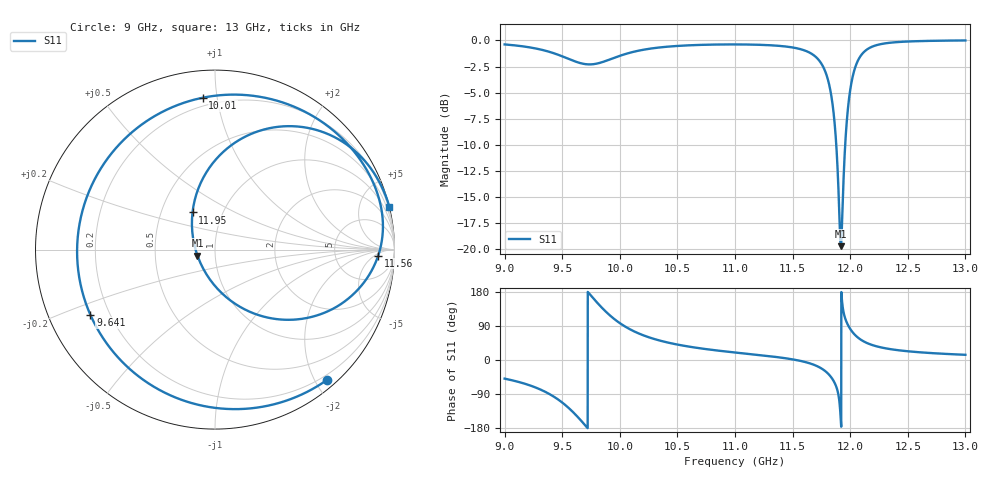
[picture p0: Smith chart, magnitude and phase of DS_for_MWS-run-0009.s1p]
! TOUCHSTONE file generated by CST DESIGN STUDIO
! Date and time: Tue Feb  4 16:26:46 2025
! Project name: C:\Work\MatlabApps\UnitCellOptimizationMatlab\CST\unitcell.cst
! Tree item: Tasks\Sweep1\SPara1\S-Parameters
! Header version: 2024
! Port assignment regex: !\s*Touchstone port\s*([0-9]+)\s*=\s*(CST MWS port|CST DES external port|CST DES block port)\s*(.+)\s* \(\"(.*)\"\)(\s*mode\s*([0-9]+))?.*
! Touchstone port assignment:
! Touchstone port 1 = CST DES external port 1 ("")
# GHz S MA R 50
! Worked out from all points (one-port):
!   4001 points, 9 GHz to 13 GHz, reference 50 ohm
!   lowest |S11| = -19.7 dB at 11.92 GHz (marker M1), VSWR 1.23, Z = 41 - j2.74 ohm
!   |S11| at or under -10 dB: 11.88 GHz to 11.96 GHz (77.51 MHz wide, 0.65 % of centre)
!   S11 on the Smith chart (normalised r, x): 9 GHz: 0.12, -2.18; 9.641 GHz: 0.13, -0.24; 10.01 GHz: 0.15, +0.91; 11.56 GHz: 18, -7; 11.95 GHz: 0.72, +0.32; 13 GHz: -0.01, +8.33
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9  0.9576 -49.2
9.264  0.917 -72.0
9.397  0.8794 -91.2
9.5  0.8397 -112.2
9.641  0.7837 -152.3
9.714  0.7689 -177.5
9.786  0.772 157.3
9.892  0.8029 123.8
10  0.8442 97.3
10.013  0.8489 94.6
10.23  0.9078 62.3
10.5  0.9415 40.7
11  0.9574 19.8
11.5  0.9258 1.7
11.564  0.91 -2.1
11.716  0.8191 -16.7
11.814  0.6257 -37.9
11.87  0.3712 -63.7
11.906  0.1453 -109.2
11.919  0.1032 -161.3
11.946  0.2421 121.2
11.97  0.4074 99.1
12  0.5784 82.1
12.061  0.7877 60.7
12.173  0.9244 41.4
12.301  0.9683 31.1
12.5  0.9887 23.0
13  1 13.7
